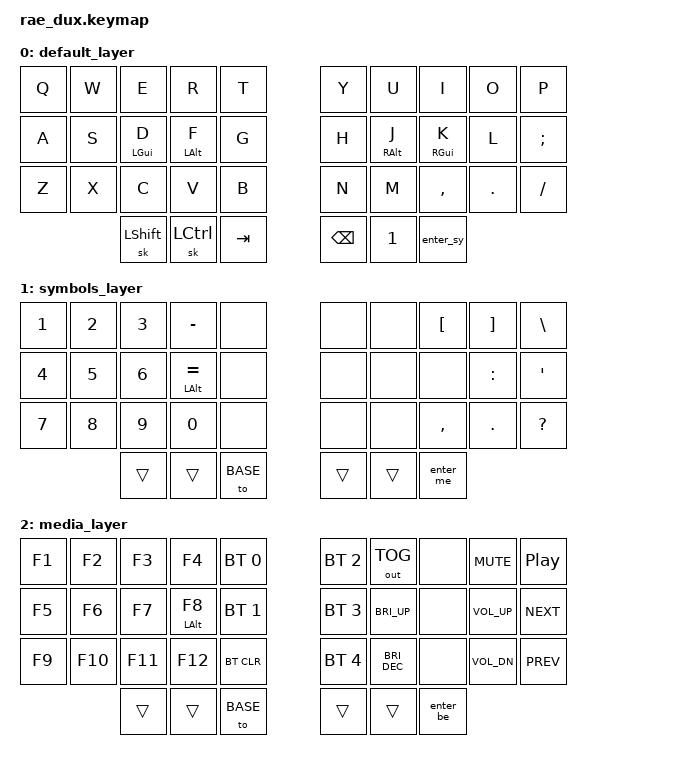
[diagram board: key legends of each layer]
// Copyright (c) 2022 The ZMK Contributors
// SPDX-License-Identifier: MIT

#include <behaviors.dtsi>
#include <dt-bindings/zmk/bt.h>
#include <dt-bindings/zmk/keys.h>
#include <dt-bindings/zmk/outputs.h>

&sk {
    release-after-ms = <750>;
    quick-release;
};

&mt {
    flavor = "tap-preferred";
    tapping_term_ms = <200>;
};

#define BASE 0
#define SYMBOLS 1
#define MEDIA   2

/ {
    behaviors {
        hm: homerow_mods {
            compatible = "zmk,behavior-hold-tap";
            label = "HOMEROW_MODS";
            #binding-cells = <2>;
            tapping-term-ms = <200>;
            quick_tap_ms = <0>;
            flavor = "tap-preferred";
            bindings = <&kp>, <&kp>;
        };

        enter_sy: enter_sy {
            compatible = "zmk,behavior-mod-morph";
            #binding-cells = <0>;
            label = "ENTER_SYMBOL";
            bindings = <&kp ENTER>, <&to SYMBOLS>; 
            mods = <MOD_LALT>;
        };

        enter_me: enter_me {
            compatible = "zmk,behavior-mod-morph";
            #binding-cells = <0>;
            label = "ENTER_MEDIA";
            bindings = <&kp ENTER>, <&to MEDIA>; 
            mods = <MOD_LALT>;
        };

        enter_be: enter_be {
            compatible = "zmk,behavior-mod-morph";
            #binding-cells = <0>;
            label = "ENTER_BASE";
            bindings = <&kp ENTER>, <&to BASE>; 
            mods = <MOD_LALT>;
        };
    };

    keymap {
        compatible = "zmk,keymap";

        default_layer {
            bindings = <
&kp Q  &kp W  &kp E       &kp R       &kp T    &kp Y          &kp U       &kp I              &kp O    &kp P
&kp A  &kp S  &hm LGUI D  &hm LALT F  &kp G    &kp H          &hm RALT J  &hm RGUI K         &kp L    &kp SEMI
&kp Z  &kp X  &kp C       &kp V       &kp B    &kp N          &kp M       &kp COMMA          &kp DOT  &kp FSLH
              &sk LSHIFT  &sk LCTRL   &kp TAB  &kp BACKSPACE  &kp N1   &enter_sy
            >;
        };

        symbols_layer {
            bindings = <
&kp N1        &kp N2        &kp N3        &kp MINUS     &none    &none   &none   &kp LEFT_BRACKET  &kp RIGHT_BRACKET  &kp BACKSLASH
&kp NUMBER_4  &kp NUMBER_5  &kp NUMBER_6  &hm LALT EQUAL     &none    &none   &none   &none             &kp COLON          &kp SINGLE_QUOTE
&kp NUMBER_7  &kp NUMBER_8  &kp NUMBER_9  &kp NUMBER_0  &none    &none   &none   &kp COMMA         &kp PERIOD         &kp QMARK
                            &trans        &trans        &to BASE  &trans  &trans  &enter_me
            >;
        };

        media_layer {
            bindings = <
&kp F1  &kp F2   &kp F3   &kp F4   &bt BT_SEL 0  &bt BT_SEL 2  &out OUT_TOG   &none          &kp C_MUTE    &kp C_PP
&kp F5  &kp F6   &kp F7   &hm LALT F8   &bt BT_SEL 1  &bt BT_SEL 3  &kp C_BRI_UP   &none          &kp C_VOL_UP  &kp C_NEXT
&kp F9  &kp F10  &kp F11  &kp F12  &bt BT_CLR    &bt BT_SEL 4  &kp C_BRI_DEC  &none          &kp C_VOL_DN  &kp C_PREV
                 &trans   &trans   &to BASE       &trans        &trans         &enter_be
            >;
        };
    };
};
